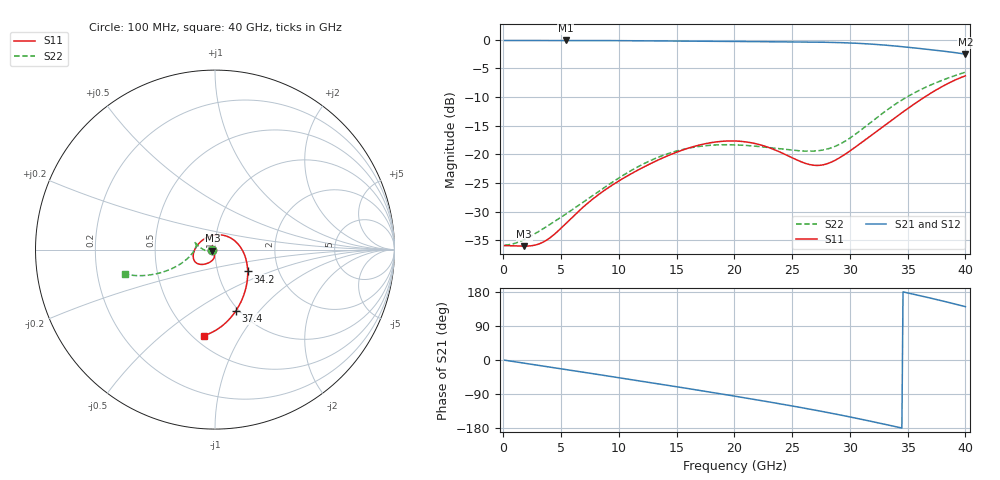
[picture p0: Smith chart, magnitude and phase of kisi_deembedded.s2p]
! C_s8_offset: kisi-fdtd, de-embedded with the 2×thru
# Hz S RI R 50
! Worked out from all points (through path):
!   400 points, 100 MHz to 40 GHz, reference 50 ohm
!   highest |S21| = -0.14 dB at 5.4 GHz (marker M1); lowest = -2.5 dB at 40 GHz (marker M2)
!   group delay of S21, straight-line fit = 14.8 ps
!   lowest |S11| = -36.0 dB at 1.8 GHz (marker M3), VSWR 1.03, Z = 48.6 - j0.654 ohm
!   |S11| at or under -10 dB: start of sweep to 36.48 GHz
!   |S22| runs from -35.8 to -5.7 dB; largest |S21 - S12| = 5.2e-06
!   S11 on the Smith chart (normalised r, x): 100 MHz: 0.97, -0.00; 34.2 GHz: 1.39, -0.36; 37.4 GHz: 0.97, -0.76; 40 GHz: 0.56, -0.71
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1e8  -0.016 -0.000366  0.9833 -0.00795  0.9833 -0.00795  -0.0162 -0.000317
1.8e9  -0.0143 -0.00673  0.973 -0.1426  0.973 -0.1426  -0.0172 -0.0055
3.5e9  -0.0102 -0.014  0.9445 -0.2748  0.9445 -0.2748  -0.0205 -0.00967
5.4e9  -0.00497 -0.0244  0.8912 -0.4172  0.8912 -0.4172  -0.0277 -0.0121
6.8e9  -0.0031 -0.0338  0.8372 -0.5163  0.8373 -0.5163  -0.0358 -0.0115
9.6e9  -0.0101 -0.0545  0.6951 -0.6918  0.6951 -0.6918  -0.0586 -0.00304
1.34e10  -0.0445 -0.0775  0.4449 -0.8678  0.4449 -0.8678  -0.0923 0.0195
1.52e10  -0.067 -0.0824  0.3083 -0.9226  0.3083 -0.9226  -0.104 0.0301
1.7e10  -0.0898 -0.0808  0.163 -0.9562  0.163 -0.9562  -0.111 0.0382
2.01e10  -0.1182 -0.0557  -0.0973 -0.9595  -0.0973 -0.9595  -0.1126 0.0441
2.18e10  -0.1209 -0.0282  -0.2398 -0.9311  -0.2398 -0.9311  -0.1096 0.0432
2.35e10  -0.1092 0.00707  -0.3788 -0.8808  -0.3788 -0.8808  -0.106 0.0394
2.67e10  -0.0388 0.0708  -0.6209 -0.7229  -0.6209 -0.7229  -0.1049 0.0194
2.79e10  0.00271 0.082  -0.7002 -0.6405  -0.7002 -0.6405  -0.1103 0.00498
2.93e10  0.0567 0.0775  -0.7794 -0.5277  -0.7794 -0.5276  -0.1241 -0.0177
3.14e10  0.1329 0.0258  -0.8598 -0.3291  -0.8598 -0.3291  -0.1658 -0.0605
3.34e10  0.1769 -0.0723  -0.8814 -0.1214  -0.8814 -0.1214  -0.23 -0.1011
3.42e10  0.1823 -0.1217  -0.8739 -0.038  -0.8739 -0.038  -0.2607 -0.1147
3.58e10  0.1678 -0.2302  -0.8333 0.1232  -0.8333 0.1232  -0.3262 -0.1345
3.74e10  0.1161 -0.3416  -0.7617 0.272  -0.7617 0.272  -0.3932 -0.1444
3.87e10  0.0422 -0.423  -0.6811 0.3808  -0.6811 0.3808  -0.4478 -0.1443
4e10  -0.0629 -0.4796  -0.5788 0.4733  -0.5788 0.4733  -0.5029 -0.1345
